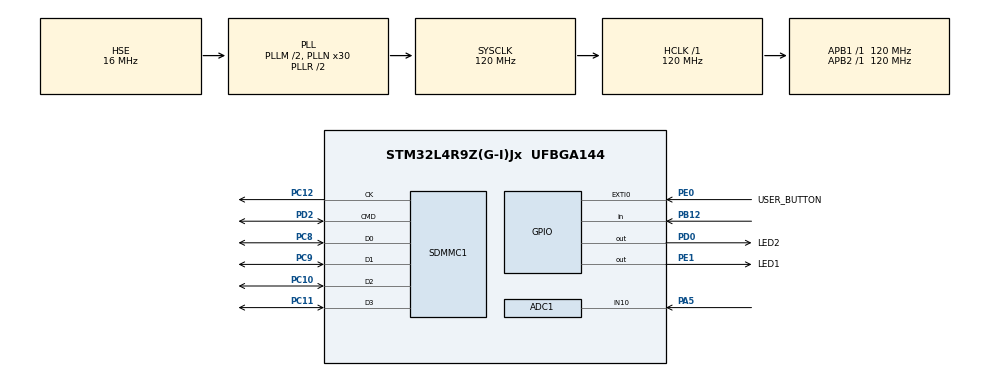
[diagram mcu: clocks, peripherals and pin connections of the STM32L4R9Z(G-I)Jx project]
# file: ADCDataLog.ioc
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ADC1.Channel-0\#ChannelRegularConversion=ADC_CHANNEL_10
ADC1.ClockPrescaler=ADC_CLOCK_ASYNC_DIV1
ADC1.ContinuousConvMode=DISABLE
ADC1.DMAContinuousRequests=ENABLE
ADC1.ExternalTrigConv=ADC_EXTERNALTRIG_T3_TRGO
ADC1.NbrOfConversionFlag=1
ADC1.OffsetNumber-0\#ChannelRegularConversion=ADC_OFFSET_NONE
ADC1.Rank-0\#ChannelRegularConversion=1
ADC1.SamplingTime-0\#ChannelRegularConversion=ADC_SAMPLETIME_12CYCLES_5
ADC1.master=1
Dma.ADC1.0.Direction=DMA_PERIPH_TO_MEMORY
Dma.ADC1.0.EventEnable=DISABLE
Dma.ADC1.0.Instance=DMA1_Channel1
Dma.ADC1.0.MemDataAlignment=DMA_MDATAALIGN_HALFWORD
Dma.ADC1.0.MemInc=DMA_MINC_ENABLE
Dma.ADC1.0.Mode=DMA_CIRCULAR
Dma.ADC1.0.PeriphDataAlignment=DMA_PDATAALIGN_HALFWORD
Dma.ADC1.0.PeriphInc=DMA_PINC_DISABLE
Dma.ADC1.0.Polarity=HAL_DMAMUX_REQUEST_GEN_RISING
Dma.ADC1.0.Priority=DMA_PRIORITY_LOW
Dma.ADC1.0.RequestNumber=1
Dma.ADC1.0.SignalID=NONE
Dma.ADC1.0.SyncEnable=DISABLE
Dma.ADC1.0.SyncPolarity=HAL_DMAMUX_SYNC_NO_EVENT
Dma.ADC1.0.SyncRequestNumber=1
Dma.ADC1.0.SyncSignalID=NONE
Dma.Request0=ADC1
FATFS.BSP.number=1
FATFS.USE_DMA_CODE_SD=1
FATFS0.BSP.STBoard=false
FATFS0.BSP.api=Unknown
FATFS0.BSP.i2caddr=0
FATFS0.BSP.instance=PB12
FATFS0.BSP.ip=GPIO
FATFS0.BSP.mode=Input
FATFS0.BSP.name=Detect_SDIO
FATFS0.BSP.solution=PB12
Mcu.Family=STM32L4
Mcu.Name=STM32L4R9Z(G-I)Jx
Mcu.Package=UFBGA144
NVIC.ADC1_IRQn=true\:1\:0\:true\:false\:true\:true\:true\:true
NVIC.DMA1_Channel1_IRQn=true\:1\:0\:true\:false\:true\:false\:true\:true
NVIC.EXTI0_IRQn=true\:1\:0\:true\:false\:true\:true\:true\:true
NVIC.PriorityGroup=NVIC_PRIORITYGROUP_4
NVIC.SDMMC1_IRQn=true\:1\:0\:true\:false\:true\:true\:true\:true
NVIC.TIM3_IRQn=true\:1\:0\:true\:false\:true\:true\:true\:true
PA5.Signal=ADCx_IN10
PB12.Signal=GPIO_Input
PC10.Mode=SD_4_bits_Wide_bus
PC10.Signal=SDMMC1_D2
PC11.Mode=SD_4_bits_Wide_bus
PC11.Signal=SDMMC1_D3
PC12.Mode=SD_4_bits_Wide_bus
PC12.Signal=SDMMC1_CK
PC8.Mode=SD_4_bits_Wide_bus
PC8.Signal=SDMMC1_D0
PC9.Mode=SD_4_bits_Wide_bus
PC9.Signal=SDMMC1_D1
PD0.GPIO_Label=LED2
PD0.Signal=GPIO_Output
PD2.Mode=SD_4_bits_Wide_bus
PD2.Signal=SDMMC1_CMD
PE0.GPIO_Label=USER_BUTTON
PE0.Signal=GPXTI0
PE1.GPIO_Label=LED1
PE1.Signal=GPIO_Output
PH0-OSC_IN\ (PH0).Mode=HSE-External-Oscillator
PH0-OSC_IN\ (PH0).Signal=RCC_OSC_IN
PH1-OSC_OUT\ (PH1).Mode=HSE-External-Oscillator
PH1-OSC_OUT\ (PH1).Signal=RCC_OSC_OUT
ProjectManager.HeapSize=0x800
ProjectManager.StackSize=0x800
ProjectManager.TargetToolchain=STM32CubeIDE
RCC.ADCFreq_Value=60000000
RCC.AHBFreq_Value=120000000
RCC.APB1Freq_Value=120000000
RCC.APB1TimFreq_Value=120000000
RCC.APB2Freq_Value=120000000
RCC.APB2TimFreq_Value=120000000
RCC.CortexFreq_Value=120000000
RCC.HCLKFreq_Value=120000000
RCC.HSE_VALUE=16000000
RCC.HSI48_VALUE=48000000
RCC.HSI_VALUE=16000000
RCC.LSE_VALUE=32768
RCC.MSI_VALUE=4000000
RCC.PLLM1=2
RCC.PLLM2=2
RCC.PLLN=30
RCC.PLLSAI1N=15
RCC.PLLSourceVirtual=RCC_PLLSOURCE_HSE
RCC.SDMMCClockSelection=RCC_SDIOCLKSOURCE_CLK48
RCC.SYSCLKFreq_VALUE=120000000
RCC.SYSCLKSource=RCC_SYSCLKSOURCE_PLLCLK
RCC.USBFreq_Value=60000000
RCC.VCOOutputFreq_Value=240000000
SH.ADCx_IN10.0=ADC1_IN10,IN10-Single-Ended
TIM3.AutoReloadPreload=TIM_AUTORELOAD_PRELOAD_DISABLE
TIM3.Prescaler=0
TIM3.TIM_MasterOutputTrigger=TIM_TRGO_UPDATE
VP_FATFS_VS_SDIO.Mode=SDIO
VP_TIM3_VS_ClockSourceINT.Mode=Internal
board=custom

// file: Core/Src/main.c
/* USER CODE BEGIN Header */
/**
  ******************************************************************************
  * @file           : main.c
  * @brief          : Main program body
  ******************************************************************************
  * @attention
  *
  * Copyright (c) 2022 STMicroelectronics.
  * All rights reserved.
  *
  * This software is licensed under terms that can be found in the LICENSE file
  * in the root directory of this software component.
  * If no LICENSE file comes with this software, it is provided AS-IS.
  *
  ******************************************************************************
  */
/* USER CODE END Header */
#include "main.h"
#include "fatfs.h"

/* USER CODE BEGIN Includes */
#include <stdio.h>
#include <string.h>
#include "RingBuffer.h"
/* USER CODE END Includes */

/* USER CODE BEGIN PD */

/* Sampling frequency of ADC/period of timer */
#define SAMP_FREQ 			    40000

/* DMA buffer length. Since app uses double buffer, amount of time to transmit ADC data to SD card is
 * ( 1 / SAMP_FREQ ) * ( DMA_BUFF_LENGTH / 2)
 * Make buffer length a power of 2 */
#define DMA_BUFF_LENGTH		  8192

/*
 * The size of the ring buffer in terms of DMA buffer lengths
 * ie. if RING_BUFFER_CHUNKS = 2, total length of ring buffer is DDMA_BUFF_LENGTH * RING_BUFFER_CHUNKS
 */
#define RING_BUFFER_CHUNKS  8

/* USER CODE END PD */

 ADC_HandleTypeDef hadc1;
DMA_HandleTypeDef hdma_adc1;

SD_HandleTypeDef hsd1;

TIM_HandleTypeDef htim3;

/* USER CODE BEGIN PV */

/* Lookup table for decimal to string conversion
 * doing two digits at a time reduces number of divides, improving performance
 */
static const char digits_LUT[201] =

  "0001020304050607080910111213141516171819"

  "2021222324252627282930313233343536373839"

  "4041424344454647484950515253545556575859"

  "6061626364656667686970717273747576777879"

  "8081828384858687888990919293949596979899";

Ring_Buffer_t hRingBuff =
  {
      .BytesPerSample =   2,                    // 12 bit ADC data will use 16-bit data buffer
      .MaxNumSamples =    DMA_BUFF_LENGTH * RING_BUFFER_CHUNKS,  // make larger than DMA buffer to help avoid data loss

      /* clear all index variables */
      .readIdx =          0,
      .writeIdx =         0,
      .availableSamples = 0
  };

uint32_t RingBufferErrorCode;

FRESULT res; /* FatFs function common result code */
UINT byteswritten; /* File write/read counts */
const char header[] = "adc_value\n";  /* CSV Column Labels */
char str_buf[16];
uint8_t workBuffer[_MAX_SS];
FIL ADC_data_file;

volatile uint16_t adc_dma_buf[DMA_BUFF_LENGTH];
uint16_t *ConsumeBuff;

uint8_t write_adc_data = 0;
int file_num = 0;
uint32_t str_len;

int ADCStrlength;
char ADCValStr[16];

/* USER CODE END PV */

void SystemClock_Config(void);
void PeriphCommonClock_Config(void);
static void MX_GPIO_Init(void);
static void MX_SDMMC1_SD_Init(void);
static void MX_DMA_Init(void);
static void MX_ADC1_Init(void);
static void MX_TIM3_Init(void);
/* USER CODE BEGIN PFP */

/*
 * Control the sampling frequncy of ADC by adjusting timer parameters.
 */
void SetSamplingFrequency(uint32_t freq);

/*
 * Initialize File System and Link low level SD drivers
 */
FRESULT InitFileSystem(void);

// Custom fast itoa function
int fast4DigitDecToStr(uint32_t value, char* dst);

/* USER CODE END PFP */

/* USER CODE BEGIN 0 */

/*
 * Default generated SD detection does not work. Redefined weakly defined function here
 */
uint8_t BSP_SD_IsDetected(void)
{
  __IO uint8_t status = SD_PRESENT;

  if( HAL_GPIO_ReadPin(GPIOB, GPIO_PIN_12) == GPIO_PIN_RESET)
  {
	  status = SD_NOT_PRESENT;
  }

  return status;
}

/* USER CODE END 0 */

int main(void)
{

  /* MCU Configuration--------------------------------------------------------*/

  /* Reset of all peripherals, Initializes the Flash interface and the Systick. */
  HAL_Init();

  /* Configure the system clock */
  SystemClock_Config();

/* Configure the peripherals common clocks */
  PeriphCommonClock_Config();

  /* Initialize all configured peripherals */
  MX_GPIO_Init();
  MX_SDMMC1_SD_Init();
  MX_DMA_Init();
  MX_FATFS_Init();
  MX_ADC1_Init();
  MX_TIM3_Init();
  /* USER CODE BEGIN 2 */

  // Program will not start until there is an SD card present
  while (!BSP_SD_IsDetected()) {}

  // Link SD drivers to file system
  res = InitFileSystem();

  if (res != FR_OK)
  {
    // Error initializing file system
    Error_Handler();
  }

  // Set the sampling frequency of the ADC by setting timer frequency
  SetSamplingFrequency(SAMP_FREQ);

  // Allocate the memory for the ring buffer
  RingBufferErrorCode = RingBuffer_alloc(&hRingBuff);

  if ( RingBufferErrorCode != RB_ERR_OK )
  {
    Error_Handler();
  }

  // Start timer that triggers ADC
  if (HAL_TIM_Base_Start(&htim3) != HAL_OK)
  {
    Error_Handler();
  }

  // Calibrate ADC
  if (HAL_ADCEx_Calibration_Start(&hadc1, ADC_SINGLE_ENDED) != HAL_OK)
  {
    Error_Handler();
  }

  // Start the ADC DMA transfer
  if (HAL_ADC_Start_DMA(&hadc1, (uint32_t *)adc_dma_buf, DMA_BUFF_LENGTH) != HAL_OK)
  {
    Error_Handler();
  }

  /* USER CODE END 2 */

  /* Infinite loop */
  /* USER CODE BEGIN WHILE */
  while (1)
  {

    // Start writing ADC data when button is pressed, flag toggled in EXTI ISR
    if (write_adc_data)
    {
      file_num++;

      // green LED indicates that file writing process is ongoing
      HAL_GPIO_WritePin(LED1_GPIO_Port, LED1_Pin, GPIO_PIN_SET);

      str_len = sprintf(str_buf, "ADCVals%d.csv", file_num);

      char file_name[str_len+1];

      // Necessary to make sure string is NULL terminated
      for (uint32_t i = 0; i < str_len + 1; i++)
      {
          file_name[i] = str_buf[i];
      }

      res = f_open(&ADC_data_file, file_name, FA_CREATE_ALWAYS | FA_WRITE);

      if( res == FR_OK)
      {
        res = f_write(&ADC_data_file, header, sizeof(header), &byteswritten);
        if (res != FR_OK)
        {
          Error_Handler();
        }

        /* Write ADC data into file until the button is pressed again */
        while ( write_adc_data )
        {

          // Avoid underflow of ring buffer
          if ( hRingBuff.availableSamples > 0 )
          {
            ConsumeBuff = (uint16_t *)RingBuffer_consume(&hRingBuff, DMA_BUFF_LENGTH/2);

            /* Extra safety net.
             * Should be hit since above conditionals checks or available samples
             */
            if (ConsumeBuff == NULL)
            {
              Error_Handler();
            }

            for (uint32_t i = 0; i < DMA_BUFF_LENGTH/2; i++)
            {
              /*
               * Custom itoa implementation, only works for base 10 decimal less than 5 digits.
               */
              ADCStrlength = fast4DigitDecToStr((int)ConsumeBuff[i], ADCValStr);

              ADCValStr[ADCStrlength] = '\n';

              // Write longer than string end to include null terminator
              res = f_write(&ADC_data_file, ADCValStr, (ADCStrlength + 1), &byteswritten);

            }
          }

        }

        /*
         * If the above while loop finishes executing and there are still samples left in the ring buffer,
         * finish writing the remaining samples to the file
         */
        if ( hRingBuff.availableSamples > 0 )
        {
          while (hRingBuff.availableSamples > 0)
          {

            ConsumeBuff = (uint16_t *)RingBuffer_consume(&hRingBuff, DMA_BUFF_LENGTH/2);

            /* Extra safety net.
             * Should be hit since above conditionals checkf or available samples
             */
            if (ConsumeBuff == NULL)
            {
              Error_Handler();
            }

            for (uint32_t i = 0; i < DMA_BUFF_LENGTH/2; i++)
            {

              ADCStrlength = fast4DigitDecToStr((int)ConsumeBuff[i], ADCValStr);

              ADCValStr[ADCStrlength] = '\n';

              res = f_write(&ADC_data_file, ADCValStr, (ADCStrlength + 1), &byteswritten);

            }

          }
        }

        f_close(&ADC_data_file);
      }

      // Turn off green LED to indicate file isn't being written to any longer
      HAL_GPIO_WritePin(LED1_GPIO_Port, LED1_Pin, GPIO_PIN_RESET);

    }

    /* USER CODE END WHILE */

  }
}

void SystemClock_Config(void)
{
  RCC_OscInitTypeDef RCC_OscInitStruct = {0};
  RCC_ClkInitTypeDef RCC_ClkInitStruct = {0};

  /** Configure the main internal regulator output voltage
  */
  if (HAL_PWREx_ControlVoltageScaling(PWR_REGULATOR_VOLTAGE_SCALE1_BOOST) != HAL_OK)
  {
    Error_Handler();
  }

  /** Initializes the RCC Oscillators according to the specified parameters
  * in the RCC_OscInitTypeDef structure.
  */
  RCC_OscInitStruct.OscillatorType = RCC_OSCILLATORTYPE_HSE;
  RCC_OscInitStruct.HSEState = RCC_HSE_ON;
  RCC_OscInitStruct.PLL.PLLState = RCC_PLL_ON;
  RCC_OscInitStruct.PLL.PLLSource = RCC_PLLSOURCE_HSE;
  RCC_OscInitStruct.PLL.PLLM = 2;
  RCC_OscInitStruct.PLL.PLLN = 30;
  RCC_OscInitStruct.PLL.PLLP = RCC_PLLP_DIV2;
  RCC_OscInitStruct.PLL.PLLQ = RCC_PLLQ_DIV2;
  RCC_OscInitStruct.PLL.PLLR = RCC_PLLR_DIV2;
  if (HAL_RCC_OscConfig(&RCC_OscInitStruct) != HAL_OK)
  {
    Error_Handler();
  }

  /** Initializes the CPU, AHB and APB buses clocks
  */
  RCC_ClkInitStruct.ClockType = RCC_CLOCKTYPE_HCLK|RCC_CLOCKTYPE_SYSCLK
                              |RCC_CLOCKTYPE_PCLK1|RCC_CLOCKTYPE_PCLK2;
  RCC_ClkInitStruct.SYSCLKSource = RCC_SYSCLKSOURCE_PLLCLK;
  RCC_ClkInitStruct.AHBCLKDivider = RCC_SYSCLK_DIV1;
  RCC_ClkInitStruct.APB1CLKDivider = RCC_HCLK_DIV1;
  RCC_ClkInitStruct.APB2CLKDivider = RCC_HCLK_DIV1;

  if (HAL_RCC_ClockConfig(&RCC_ClkInitStruct, FLASH_LATENCY_5) != HAL_OK)
  {
    Error_Handler();
  }
}

void PeriphCommonClock_Config(void)
{
  RCC_PeriphCLKInitTypeDef PeriphClkInit = {0};

  /** Initializes the peripherals clock
  */
  PeriphClkInit.PeriphClockSelection = RCC_PERIPHCLK_SDMMC1|RCC_PERIPHCLK_ADC;
  PeriphClkInit.AdcClockSelection = RCC_ADCCLKSOURCE_PLLSAI1;
  PeriphClkInit.Sdmmc1ClockSelection = RCC_SDMMC1CLKSOURCE_PLLSAI1;
  PeriphClkInit.PLLSAI1.PLLSAI1Source = RCC_PLLSOURCE_HSE;
  PeriphClkInit.PLLSAI1.PLLSAI1M = 2;
  PeriphClkInit.PLLSAI1.PLLSAI1N = 15;
  PeriphClkInit.PLLSAI1.PLLSAI1P = RCC_PLLP_DIV2;
  PeriphClkInit.PLLSAI1.PLLSAI1Q = RCC_PLLQ_DIV2;
  PeriphClkInit.PLLSAI1.PLLSAI1R = RCC_PLLR_DIV2;
  PeriphClkInit.PLLSAI1.PLLSAI1ClockOut = RCC_PLLSAI1_48M2CLK|RCC_PLLSAI1_ADC1CLK;
  if (HAL_RCCEx_PeriphCLKConfig(&PeriphClkInit) != HAL_OK)
  {
    Error_Handler();
  }
}

static void MX_ADC1_Init(void)
{

  ADC_ChannelConfTypeDef sConfig = {0};

  /** Common config
  */
  hadc1.Instance = ADC1;
  hadc1.Init.ClockPrescaler = ADC_CLOCK_ASYNC_DIV1;
  hadc1.Init.Resolution = ADC_RESOLUTION_12B;
  hadc1.Init.DataAlign = ADC_DATAALIGN_RIGHT;
  hadc1.Init.ScanConvMode = ADC_SCAN_DISABLE;
  hadc1.Init.EOCSelection = ADC_EOC_SINGLE_CONV;
  hadc1.Init.LowPowerAutoWait = DISABLE;
  hadc1.Init.ContinuousConvMode = DISABLE;
  hadc1.Init.NbrOfConversion = 1;
  hadc1.Init.DiscontinuousConvMode = DISABLE;
  hadc1.Init.ExternalTrigConv = ADC_EXTERNALTRIG_T3_TRGO;
  hadc1.Init.ExternalTrigConvEdge = ADC_EXTERNALTRIGCONVEDGE_RISING;
  hadc1.Init.DMAContinuousRequests = ENABLE;
  hadc1.Init.Overrun = ADC_OVR_DATA_PRESERVED;
  hadc1.Init.OversamplingMode = DISABLE;
  if (HAL_ADC_Init(&hadc1) != HAL_OK)
  {
    Error_Handler();
  }

  /** Configure Regular Channel
  */
  sConfig.Channel = ADC_CHANNEL_10;
  sConfig.Rank = ADC_REGULAR_RANK_1;
  sConfig.SamplingTime = ADC_SAMPLETIME_12CYCLES_5;
  sConfig.SingleDiff = ADC_SINGLE_ENDED;
  sConfig.OffsetNumber = ADC_OFFSET_NONE;
  sConfig.Offset = 0;
  if (HAL_ADC_ConfigChannel(&hadc1, &sConfig) != HAL_OK)
  {
    Error_Handler();
  }

}

static void MX_SDMMC1_SD_Init(void)
{

  hsd1.Instance = SDMMC1;
  hsd1.Init.ClockEdge = SDMMC_CLOCK_EDGE_RISING;
  hsd1.Init.ClockPowerSave = SDMMC_CLOCK_POWER_SAVE_DISABLE;
  hsd1.Init.BusWide = SDMMC_BUS_WIDE_4B;
  hsd1.Init.HardwareFlowControl = SDMMC_HARDWARE_FLOW_CONTROL_DISABLE;
  hsd1.Init.ClockDiv = 0;
  hsd1.Init.Transceiver = SDMMC_TRANSCEIVER_DISABLE;

}

static void MX_TIM3_Init(void)
{

  TIM_ClockConfigTypeDef sClockSourceConfig = {0};
  TIM_MasterConfigTypeDef sMasterConfig = {0};

  htim3.Instance = TIM3;
  htim3.Init.Prescaler = 0;
  htim3.Init.CounterMode = TIM_COUNTERMODE_UP;
  htim3.Init.Period = 65535;
  htim3.Init.ClockDivision = TIM_CLOCKDIVISION_DIV1;
  htim3.Init.AutoReloadPreload = TIM_AUTORELOAD_PRELOAD_DISABLE;
  if (HAL_TIM_Base_Init(&htim3) != HAL_OK)
  {
    Error_Handler();
  }
  sClockSourceConfig.ClockSource = TIM_CLOCKSOURCE_INTERNAL;
  if (HAL_TIM_ConfigClockSource(&htim3, &sClockSourceConfig) != HAL_OK)
  {
    Error_Handler();
  }
  sMasterConfig.MasterOutputTrigger = TIM_TRGO_UPDATE;
  sMasterConfig.MasterSlaveMode = TIM_MASTERSLAVEMODE_DISABLE;
  if (HAL_TIMEx_MasterConfigSynchronization(&htim3, &sMasterConfig) != HAL_OK)
  {
    Error_Handler();
  }

}

static void MX_DMA_Init(void)
{

  /* DMA controller clock enable */
  __HAL_RCC_DMAMUX1_CLK_ENABLE();
  __HAL_RCC_DMA1_CLK_ENABLE();

  /* DMA interrupt init */
  /* DMA1_Channel1_IRQn interrupt configuration */
  HAL_NVIC_SetPriority(DMA1_Channel1_IRQn, 1, 0);
  HAL_NVIC_EnableIRQ(DMA1_Channel1_IRQn);

}

static void MX_GPIO_Init(void)
{
  GPIO_InitTypeDef GPIO_InitStruct = {0};

  /* GPIO Ports Clock Enable */
  __HAL_RCC_GPIOE_CLK_ENABLE();
  __HAL_RCC_GPIOC_CLK_ENABLE();
  __HAL_RCC_GPIOD_CLK_ENABLE();
  __HAL_RCC_GPIOH_CLK_ENABLE();
  __HAL_RCC_GPIOA_CLK_ENABLE();
  __HAL_RCC_GPIOB_CLK_ENABLE();

  /*Configure GPIO pin Output Level */
  HAL_GPIO_WritePin(LED1_GPIO_Port, LED1_Pin, GPIO_PIN_RESET);

  /*Configure GPIO pin Output Level */
  HAL_GPIO_WritePin(LED2_GPIO_Port, LED2_Pin, GPIO_PIN_RESET);

  /*Configure GPIO pin : USER_BUTTON_Pin */
  GPIO_InitStruct.Pin = USER_BUTTON_Pin;
  GPIO_InitStruct.Mode = GPIO_MODE_IT_RISING;
  GPIO_InitStruct.Pull = GPIO_NOPULL;
  HAL_GPIO_Init(USER_BUTTON_GPIO_Port, &GPIO_InitStruct);

  /*Configure GPIO pin : LED1_Pin */
  GPIO_InitStruct.Pin = LED1_Pin;
  GPIO_InitStruct.Mode = GPIO_MODE_OUTPUT_PP;
  GPIO_InitStruct.Pull = GPIO_NOPULL;
  GPIO_InitStruct.Speed = GPIO_SPEED_FREQ_LOW;
  HAL_GPIO_Init(LED1_GPIO_Port, &GPIO_InitStruct);

  /*Configure GPIO pin : LED2_Pin */
  GPIO_InitStruct.Pin = LED2_Pin;
  GPIO_InitStruct.Mode = GPIO_MODE_OUTPUT_PP;
  GPIO_InitStruct.Pull = GPIO_NOPULL;
  GPIO_InitStruct.Speed = GPIO_SPEED_FREQ_LOW;
  HAL_GPIO_Init(LED2_GPIO_Port, &GPIO_InitStruct);

  /*Configure GPIO pin : PB12 */
  GPIO_InitStruct.Pin = GPIO_PIN_12;
  GPIO_InitStruct.Mode = GPIO_MODE_INPUT;
  GPIO_InitStruct.Pull = GPIO_NOPULL;
  HAL_GPIO_Init(GPIOB, &GPIO_InitStruct);

  /* EXTI interrupt init*/
  HAL_NVIC_SetPriority(EXTI0_IRQn, 1, 0);
  HAL_NVIC_EnableIRQ(EXTI0_IRQn);

}

/* USER CODE BEGIN 4 */

void SetSamplingFrequency(uint32_t freq)
{
	uint32_t prescaler = 0;

	// 120MHz clock frequency
	uint32_t ARRval = (120000000 / ( (freq) * (prescaler + 1) ) ) - 1;

	/*
	 * If ARR value associated with proper frequency is larger than max allowed
	 * ARR value, then increase the prescaler until ARR value is within acceptable range
	 */
	while ( ARRval >= 65535 )
	{
		prescaler++;
		__HAL_TIM_SET_PRESCALER(&htim3, prescaler);
		ARRval = (120000000 / ( (freq) * (prescaler + 1) ) ) - 1;
	}

	__HAL_TIM_SET_AUTORELOAD(&htim3, ARRval);

}

FRESULT InitFileSystem(void)
{
  FRESULT res;
  res = f_mkfs(SDPath, FM_ANY, 0, workBuffer, sizeof(workBuffer));

  if (res != FR_OK)
  {
    return res;
  }

  res = f_mount(&SDFatFS, (TCHAR const*)SDPath, 0);

  if(res != FR_OK)
  {
    return res;
  }

  return res;
}

/*
 * Fast implementation of an itoa type of function with LUT. Returns the length of number turned to string
 * NOTE this only works for base 10 numbers 9999 or less
 */
int fast4DigitDecToStr(uint32_t value, char* dst) {

  uint32_t length;

  /* Comparison is much faster than mathematical calculation of length of number
   * Since number is only 4 digits at most, no needs to check further
   */
  if (value < 10) length = 1;

  else if (value < 100) length = 2;

  else if (value < 1000) length = 3;

  else if (value < 10000) length = 4;

  uint32_t str_idx = length - 1;

  /* Work buffer backwards for better performance, and use lookup table of two
   * digits at a time to reduce number of divides
   */
  while (value >= 100) {

    uint32_t digit_idx = (value % 100) * 2;

    value /= 100;   // Divide by 100 since we are handling 2 digits at a time

    dst[str_idx] = digits_LUT[digit_idx + 1];

    dst[str_idx - 1] = digits_LUT[digit_idx];

    str_idx -= 2;

  }

  // Handle last 1-2 digits

  // Only one digit left to handle
  if (value < 10) {

    dst[str_idx] = '0' + value;

  }
  // Handle last 2 digits with LUT
  else {

    uint32_t digit_idx = value * 2;

    dst[str_idx] = digits_LUT[digit_idx + 1];

    dst[str_idx - 1] = digits_LUT[digit_idx];

  }

  return (int)length;

}

void HAL_GPIO_EXTI_Callback(uint16_t GPIO_Pin)
{
  //Toggles ADC write state when user button is pressed
  write_adc_data ^= 1;
}

static void Handle_Overflow(void)
{
  // Stop writing ADC since internal ring buffer can't handle more data
   write_adc_data = 0;

  /* Reset all of the ring buffer state variables
   * in prep for restarting ADC reading
   */
  hRingBuff.readIdx = 0;
  hRingBuff.writeIdx = 0;
  hRingBuff.availableSamples = 0;

  // Blink a few times to indicate overflow.
  HAL_GPIO_WritePin(LED2_GPIO_Port, LED2_Pin, GPIO_PIN_RESET);
  HAL_Delay(200);
  HAL_GPIO_WritePin(LED2_GPIO_Port, LED2_Pin, GPIO_PIN_SET);
  HAL_Delay(200);
  HAL_GPIO_WritePin(LED2_GPIO_Port, LED2_Pin, GPIO_PIN_RESET);
  HAL_Delay(200);
  HAL_GPIO_WritePin(LED2_GPIO_Port, LED2_Pin, GPIO_PIN_SET);
  HAL_Delay(200);
  HAL_GPIO_WritePin(LED2_GPIO_Port, LED2_Pin, GPIO_PIN_RESET);

}
void HAL_ADC_ConvCpltCallback(ADC_HandleTypeDef *hadc)
{
  if (write_adc_data)
  {
    RingBufferErrorCode = RingBuffer_feed(&hRingBuff, (uint8_t *)&adc_dma_buf[DMA_BUFF_LENGTH/2], DMA_BUFF_LENGTH/2);
    if( RingBufferErrorCode != RB_ERR_OK )
    {
      if (RingBufferErrorCode == RB_ERR_OVERFLOW)
      {
        Handle_Overflow();
      }
    }
  }
}

void HAL_ADC_ConvHalfCpltCallback(ADC_HandleTypeDef *hadc)
{
  if (write_adc_data)
  {
    RingBufferErrorCode = RingBuffer_feed(&hRingBuff, (uint8_t *)&adc_dma_buf[0], DMA_BUFF_LENGTH/2);
    if( RingBufferErrorCode != RB_ERR_OK )
    {
      if (RingBufferErrorCode == RB_ERR_OVERFLOW)
      {
        Handle_Overflow();
      }
    }
  }
}

void HAL_ADC_ErrorCallback(ADC_HandleTypeDef *hadc)
{
  Error_Handler();
}
/* USER CODE END 4 */

void Error_Handler(void)
{
  /* USER CODE BEGIN Error_Handler_Debug */
  /* User can add his own implementation to report the HAL error return state */
  __disable_irq();
  while (1)
  {
    HAL_GPIO_WritePin(LED2_GPIO_Port, LED2_Pin, GPIO_PIN_SET);
  }
  /* USER CODE END Error_Handler_Debug */
}
